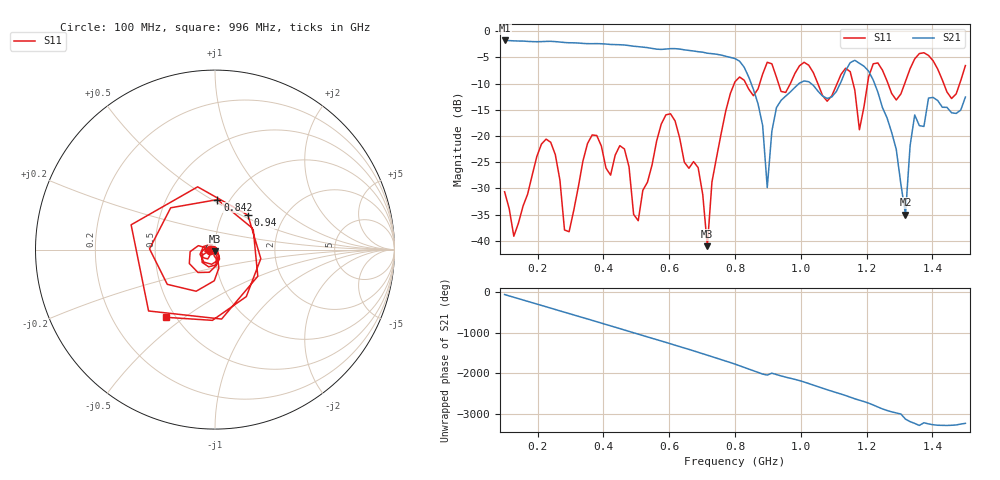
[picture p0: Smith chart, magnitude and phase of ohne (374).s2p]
! NanoVNA-App
! Date: 2025-09-25 14:23:42
! Start: 100MHz Stop: 1,5GHz Points: 101
! S-Parameter data: F S11 S21 S12 S22
# Hz S RI R 50
!  Frequency  S11_Real  S11_Imag  S21_Real  S21_Imag  S12_Real  S12_Imag  S22_Real  S22_Imag
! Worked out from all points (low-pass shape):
!   101 points, 100 MHz to 1.5 GHz, reference 50 ohm
!   highest |S21| = -1.79 dB at 100 MHz (marker M1); lowest = -35.0 dB at 1.318 GHz (marker M2)
!   |S21| within 3 dB of the highest: start of sweep to 771.3 MHz
!   lowest |S11| = -41.0 dB at 716 MHz (marker M3), VSWR 1.02, Z = 49.8 - j0.877 ohm
!   |S11| at or under -10 dB: start of sweep to 797.9 MHz; 833.1 MHz to 875.1 MHz (42.05 MHz wide, 4.92 % of centre); 1.052 GHz to 1.11 GHz (58.71 MHz wide, 5.43 % of centre) (the widest 3 of 7)
!   S12 and S22 are empty: the file has one direction only
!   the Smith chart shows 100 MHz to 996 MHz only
!   S11 on the Smith chart (normalised r, x): 100 MHz: 0.94, -0.01; 842 MHz: 0.88, +0.53; 940 MHz: 1.32, +0.55; 996 MHz: 0.44, -0.43
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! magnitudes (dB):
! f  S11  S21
! 100 MHz  -30.6  -1.8
! 128 MHz  -39.1  -1.9
! 226 MHz  -20.6  -2.0
! 296 MHz  -38.2  -2.2
! 338 MHz  -24.8  -2.4
! 464 MHz  -22.5  -2.7
! 506 MHz  -36.1  -3.0
! 576 MHz  -17.7  -3.5
! 688 MHz  -26.0  -3.9
! 716 MHz  -41.0  -4.2
! 800 MHz  -9.7  -5.2
! 842 MHz  -11.1  -8.8
! 898 MHz  -6.0  -29.8
! 940 MHz  -11.5  -13.2
! 996 MHz  -6.6  -9.9
! 1.038 GHz  -7.9  -10.3
! 1.164 GHz  -11.3  -5.6
! 1.178 GHz  -18.8  -6.1
! 1.276 GHz  -11.9  -19.3
! 1.318 GHz  -9.6  -35.0
! 1.346 GHz  -5.3  -16.0
! 1.5 GHz  -6.6  -12.6
